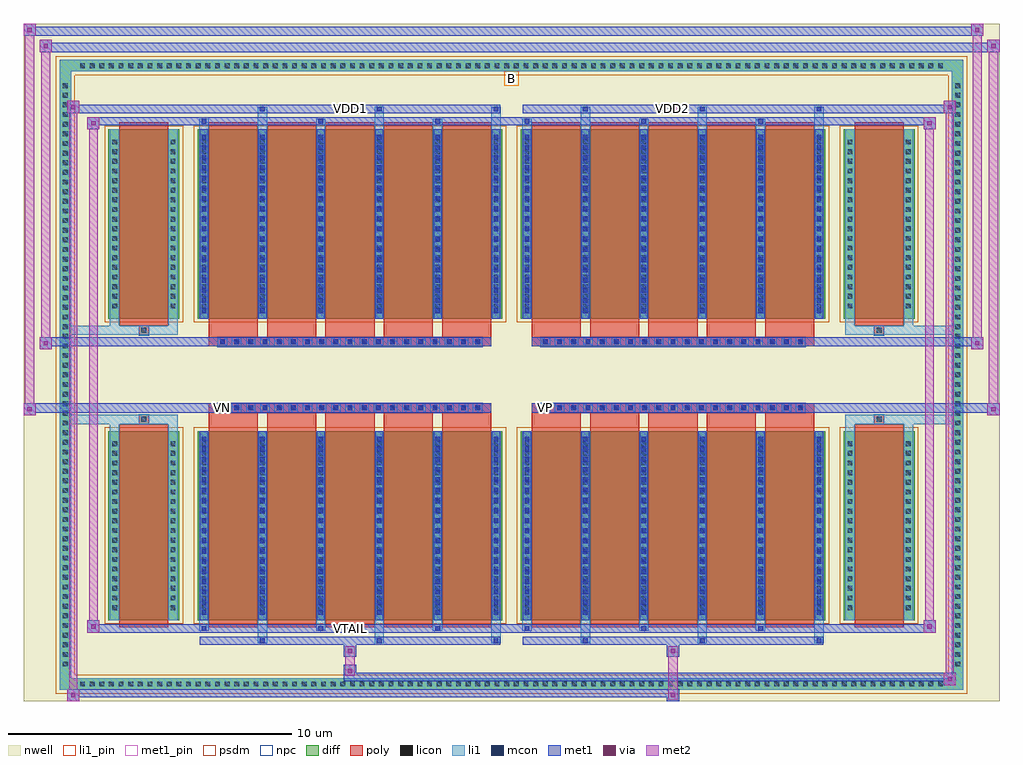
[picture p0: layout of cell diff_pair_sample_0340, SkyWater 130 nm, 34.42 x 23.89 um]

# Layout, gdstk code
import gdstk
lib = gdstk.Library(unit=1e-6, precision=5e-09)
def R(c, l, rs):  # rectangles x0, y0, x1, y1
    for r in rs: c.add(gdstk.rectangle(r[:2], r[2:], *l))
def A(c, l, x, y, w, h, nx, ny, dx, dy):  # array of equal rectangles
    R(c, l, [(x+i*dx, y+j*dy, x+i*dx+w, y+j*dy+h) for i in range(nx) for j in range(ny)])
def P(c, l, *ps):  # polygons
    for p in ps: c.add(gdstk.Polygon(p, *l))
nwell = (64, 20)
diff = (65, 20)
poly = (66, 20)
licon = (66, 44)
li1_pin = (67, 16)
li1 = (67, 20)
mcon = (67, 44)
met1_pin = (68, 16)
met1 = (68, 20)
via = (68, 44)
met2 = (69, 20)
psdm = (94, 20)
npc = (95, 20)

diff_pair_sample_0340 = lib.new_cell('diff_pair_sample_0340')
R(diff_pair_sample_0340, nwell, [(-17.21,-11.51,17.21,12.38), (-14.53,-9.7,-0.01,-0.8), (0.01,-9.7,14.53,-0.8), (-14.53,0.8,-0.01,9.7), (0.01,0.8,14.53,9.7)])
A(diff_pair_sample_0340, diff, -15.335, -11.11, 0.41, 0.41, 90, 2, 0.34, 21.81)
A(diff_pair_sample_0340, diff, -15.94, -10.405, 0.41, 0.41, 1, 61, 0, 0.34)
A(diff_pair_sample_0340, diff, 15.53, -10.405, 0.41, 0.41, 1, 61, 0, 0.34)
R(diff_pair_sample_0340, diff, [(-15.335,-11.11,15.335,-10.7), (-15.94,-10.405,-15.53,10.405), (15.53,-10.405,15.94,10.405), (-14.22,-8.655,-11.71,-1.985), (-11.07,-8.655,-0.32,-1.985), (0.32,-8.655,11.07,-1.985), (11.71,-8.655,14.22,-1.985), (-14.22,1.985,-11.71,8.655), (-11.07,1.985,-0.32,8.655), (0.32,1.985,11.07,8.655), (11.71,1.985,14.22,8.655), (-15.335,10.7,15.335,11.11)])
P(diff_pair_sample_0340, diff, [(15.94,11.11),(-15.94,11.11),(-15.94,-10.7),(-15.53,-10.7),(-15.53,10.7),(15.53,10.7),(15.53,-10.7),(-15.53,-10.7),(-15.94,-10.7),(-15.94,-11.11),(15.94,-11.11)])
A(diff_pair_sample_0340, poly, -10.68, -8.905, 1.73, 7.17, 5, 2, 2.06, 10.64)
A(diff_pair_sample_0340, poly, 0.71, -8.905, 1.73, 7.17, 5, 2, 2.06, 10.64)
A(diff_pair_sample_0340, poly, -10.68, -1.735, 1.73, 0.405, 5, 2, 2.06, 3.065)
A(diff_pair_sample_0340, poly, 0.71, -1.735, 1.73, 0.405, 5, 2, 2.06, 3.065)
A(diff_pair_sample_0340, poly, -10.36, -1.33, 0.33, 0.33, 19, 2, 0.5, 2.33)
A(diff_pair_sample_0340, poly, 1.03, -1.33, 0.33, 0.33, 19, 2, 0.5, 2.33)
R(diff_pair_sample_0340, poly, [(-13.83,-8.905,-12.1,-1.735), (12.1,-8.905,13.83,-1.735), (-13.13,-1.735,-12.8,-1.405), (-13.13,-1.735,-12.8,-1.405), (12.8,-1.735,13.13,-1.405), (12.8,-1.735,13.13,-1.405), (-10.68,-1.33,-0.71,-1), (0.71,-1.33,10.68,-1), (-10.68,1,-0.71,1.33), (0.71,1,10.68,1.33), (-13.13,1.405,-12.8,1.735), (-13.13,1.405,-12.8,1.735), (12.8,1.405,13.13,1.735), (12.8,1.405,13.13,1.735), (-13.83,1.735,-12.1,8.905), (12.1,1.735,13.83,8.905)])
A(diff_pair_sample_0340, licon, -15.215, -10.99, 0.17, 0.17, 90, 2, 0.34, 21.81)
A(diff_pair_sample_0340, licon, -15.82, -10.285, 0.17, 0.17, 1, 61, 0, 0.34)
A(diff_pair_sample_0340, licon, 15.65, -10.285, 0.17, 0.17, 1, 61, 0, 0.34)
A(diff_pair_sample_0340, licon, -14.08, -8.295, 0.17, 0.17, 1, 18, 0, 0.34)
A(diff_pair_sample_0340, licon, -12.02, -8.295, 0.17, 0.17, 1, 18, 0, 0.34)
A(diff_pair_sample_0340, licon, -10.93, -8.295, 0.17, 0.17, 6, 18, 2.06, 0.34)
A(diff_pair_sample_0340, licon, 0.46, -8.295, 0.17, 0.17, 6, 18, 2.06, 0.34)
A(diff_pair_sample_0340, licon, 11.85, -8.295, 0.17, 0.17, 1, 18, 0, 0.34)
A(diff_pair_sample_0340, licon, 13.91, -8.295, 0.17, 0.17, 1, 18, 0, 0.34)
A(diff_pair_sample_0340, licon, -10.28, -1.25, 0.17, 0.17, 19, 2, 0.5, 2.33)
A(diff_pair_sample_0340, licon, 1.11, -1.25, 0.17, 0.17, 19, 2, 0.5, 2.33)
A(diff_pair_sample_0340, licon, -14.08, 2.345, 0.17, 0.17, 1, 18, 0, 0.34)
A(diff_pair_sample_0340, licon, -12.02, 2.345, 0.17, 0.17, 1, 18, 0, 0.34)
A(diff_pair_sample_0340, licon, -10.93, 2.345, 0.17, 0.17, 6, 18, 2.06, 0.34)
A(diff_pair_sample_0340, licon, 0.46, 2.345, 0.17, 0.17, 6, 18, 2.06, 0.34)
A(diff_pair_sample_0340, licon, 11.85, 2.345, 0.17, 0.17, 1, 18, 0, 0.34)
A(diff_pair_sample_0340, licon, 13.91, 2.345, 0.17, 0.17, 1, 18, 0, 0.34)
R(diff_pair_sample_0340, licon, [(-13.05,-1.655,-12.88,-1.485), (12.88,-1.655,13.05,-1.485), (-13.05,1.485,-12.88,1.655), (12.88,1.485,13.05,1.655)])
R(diff_pair_sample_0340, li1_pin, [(-0.25,10.2,0.25,10.7)])
A(diff_pair_sample_0340, li1, -15.295, -11.07, 0.33, 0.33, 90, 2, 0.34, 21.81)
A(diff_pair_sample_0340, li1, -15.9, -10.365, 0.33, 0.33, 1, 61, 0, 0.34)
A(diff_pair_sample_0340, li1, 15.57, -10.365, 0.33, 0.33, 1, 61, 0, 0.34)
A(diff_pair_sample_0340, li1, -8.95, -9.46, 0.33, 0.805, 3, 2, 4.12, 18.115)
A(diff_pair_sample_0340, li1, -8.87, -9.46, 0.17, 0.17, 3, 2, 4.12, 18.75)
A(diff_pair_sample_0340, li1, 2.44, -9.46, 0.33, 0.805, 3, 2, 4.12, 18.115)
A(diff_pair_sample_0340, li1, 2.52, -9.46, 0.17, 0.17, 3, 2, 4.12, 18.75)
A(diff_pair_sample_0340, li1, -11.01, -9.03, 0.33, 0.375, 3, 2, 4.12, 17.685)
A(diff_pair_sample_0340, li1, -10.93, -9.03, 0.17, 0.17, 3, 2, 4.12, 17.89)
A(diff_pair_sample_0340, li1, 0.38, -9.03, 0.33, 0.375, 3, 2, 4.12, 17.685)
A(diff_pair_sample_0340, li1, 0.46, -9.03, 0.17, 0.17, 3, 2, 4.12, 17.89)
A(diff_pair_sample_0340, li1, -11.01, -8.655, 0.33, 6.67, 6, 2, 2.06, 10.64)
A(diff_pair_sample_0340, li1, 0.38, -8.655, 0.33, 6.67, 6, 2, 2.06, 10.64)
A(diff_pair_sample_0340, li1, -10.93, -8.465, 0.17, 0.17, 6, 18, 2.06, 0.36)
A(diff_pair_sample_0340, li1, -10.93, -8.465, 0.17, 6.29, 6, 2, 2.06, 10.64)
A(diff_pair_sample_0340, li1, 0.46, -8.465, 0.17, 0.17, 6, 18, 2.06, 0.36)
A(diff_pair_sample_0340, li1, 0.46, -8.465, 0.17, 6.29, 6, 2, 2.06, 10.64)
A(diff_pair_sample_0340, li1, -14.16, -8.375, 0.33, 0.33, 1, 18, 0, 0.34)
A(diff_pair_sample_0340, li1, -12.1, -8.375, 0.33, 0.33, 1, 18, 0, 0.34)
A(diff_pair_sample_0340, li1, -11.01, -8.375, 0.33, 0.33, 6, 18, 2.06, 0.34)
A(diff_pair_sample_0340, li1, 0.38, -8.375, 0.33, 0.33, 6, 18, 2.06, 0.34)
A(diff_pair_sample_0340, li1, 11.77, -8.375, 0.33, 0.33, 1, 18, 0, 0.34)
A(diff_pair_sample_0340, li1, 13.83, -8.375, 0.33, 0.33, 1, 18, 0, 0.34)
A(diff_pair_sample_0340, li1, -10.36, -1.33, 0.33, 0.33, 19, 2, 0.5, 2.33)
A(diff_pair_sample_0340, li1, 1.03, -1.33, 0.33, 0.33, 19, 2, 0.5, 2.33)
A(diff_pair_sample_0340, li1, -10.93, 2.175, 0.17, 0.17, 6, 18, 2.06, 0.36)
A(diff_pair_sample_0340, li1, 0.46, 2.175, 0.17, 0.17, 6, 18, 2.06, 0.36)
A(diff_pair_sample_0340, li1, -14.16, 2.265, 0.33, 0.33, 1, 18, 0, 0.34)
A(diff_pair_sample_0340, li1, -12.1, 2.265, 0.33, 0.33, 1, 18, 0, 0.34)
A(diff_pair_sample_0340, li1, -11.01, 2.265, 0.33, 0.33, 6, 18, 2.06, 0.34)
A(diff_pair_sample_0340, li1, 0.38, 2.265, 0.33, 0.33, 6, 18, 2.06, 0.34)
A(diff_pair_sample_0340, li1, 11.77, 2.265, 0.33, 0.33, 1, 18, 0, 0.34)
A(diff_pair_sample_0340, li1, 13.83, 2.265, 0.33, 0.33, 1, 18, 0, 0.34)
R(diff_pair_sample_0340, li1, [(-15.94,-11.11,-15.53,-10.7), (-15.94,-11.11,-15.53,-10.7), (-15.53,-11.11,15.53,-10.7), (15.53,-11.11,15.94,-10.7), (15.53,-11.11,15.94,-10.7), (-15.94,-10.7,-15.53,10.7), (15.53,-10.7,15.94,10.7), (-14.16,-8.655,-13.83,-1.985), (-12.1,-8.655,-11.77,-1.985), (11.77,-8.655,12.1,-1.985), (13.83,-8.655,14.16,-1.985), (-14.16,-1.985,-13.83,-1.405), (-12.1,-1.985,-11.77,-1.405), (11.77,-1.985,12.1,-1.405), (13.83,-1.985,14.16,-1.405), (-15.94,-1.735,-13.13,-1.405), (-14.16,-1.735,-13.13,-1.405), (-13.13,-1.735,-12.8,-1.405), (-12.8,-1.735,-11.77,-1.405), (11.77,-1.735,12.8,-1.405), (12.8,-1.735,13.13,-1.405), (12.8,-1.735,15.94,-1.405), (13.13,-1.735,14.16,-1.405), (-15.94,1.405,-13.13,1.735), (-14.16,1.405,-13.13,1.735), (-14.16,1.405,-13.83,1.985), (-13.13,1.405,-12.8,1.735), (-12.8,1.405,-11.77,1.735), (-12.1,1.405,-11.77,1.985), (11.77,1.405,12.8,1.735), (11.77,1.405,12.1,1.985), (12.8,1.405,13.13,1.735), (12.8,1.405,15.94,1.735), (13.13,1.405,14.16,1.735), (13.83,1.405,14.16,1.985), (-14.16,1.985,-13.83,8.655), (-12.1,1.985,-11.77,8.655), (11.77,1.985,12.1,8.655), (13.83,1.985,14.16,8.655), (-15.94,10.7,-15.53,11.11), (-15.94,10.7,-15.53,11.11), (-15.53,10.7,15.53,11.11), (15.53,10.7,15.94,11.11), (15.53,10.7,15.94,11.11)])
A(diff_pair_sample_0340, mcon, -8.87, -9.46, 0.17, 0.17, 3, 2, 4.12, 18.75)
A(diff_pair_sample_0340, mcon, 2.52, -9.46, 0.17, 0.17, 3, 2, 4.12, 18.75)
A(diff_pair_sample_0340, mcon, -10.93, -9.03, 0.17, 0.17, 3, 2, 4.12, 17.89)
A(diff_pair_sample_0340, mcon, 0.46, -9.03, 0.17, 0.17, 3, 2, 4.12, 17.89)
A(diff_pair_sample_0340, mcon, -10.93, -8.465, 0.17, 0.17, 6, 18, 2.06, 0.36)
A(diff_pair_sample_0340, mcon, 0.46, -8.465, 0.17, 0.17, 6, 18, 2.06, 0.36)
A(diff_pair_sample_0340, mcon, -10.28, -1.25, 0.17, 0.17, 19, 2, 0.5, 2.33)
A(diff_pair_sample_0340, mcon, 1.11, -1.25, 0.17, 0.17, 19, 2, 0.5, 2.33)
A(diff_pair_sample_0340, mcon, -10.93, 2.175, 0.17, 0.17, 6, 18, 2.06, 0.36)
A(diff_pair_sample_0340, mcon, 0.46, 2.175, 0.17, 0.17, 6, 18, 2.06, 0.36)
R(diff_pair_sample_0340, met1_pin, [(-5.83,-9.07,-5.56,-8.8), (-10.33,-1.29,-10.06,-1.02), (1.06,-1.29,1.33,-1.02), (-5.83,9.25,-5.56,9.52), (5.56,9.25,5.83,9.52)])
A(diff_pair_sample_0340, met1, -8.93, -9.52, 0.29, 0.29, 3, 2, 4.12, 18.75)
A(diff_pair_sample_0340, met1, 2.46, -9.52, 0.29, 0.29, 3, 2, 4.12, 18.75)
A(diff_pair_sample_0340, met1, -10.99, -9.09, 0.29, 0.29, 3, 2, 4.12, 17.89)
A(diff_pair_sample_0340, met1, 0.4, -9.09, 0.29, 0.29, 3, 2, 4.12, 17.89)
A(diff_pair_sample_0340, met1, -10.99, -8.655, 0.29, 6.67, 6, 2, 2.06, 10.64)
A(diff_pair_sample_0340, met1, 0.4, -8.655, 0.29, 6.67, 6, 2, 2.06, 10.64)
A(diff_pair_sample_0340, met1, -10.99, -8.525, 0.29, 0.29, 6, 18, 2.06, 0.36)
A(diff_pair_sample_0340, met1, 0.4, -8.525, 0.29, 0.29, 6, 18, 2.06, 0.36)
A(diff_pair_sample_0340, met1, -10.34, -1.31, 0.29, 0.29, 19, 2, 0.5, 2.33)
A(diff_pair_sample_0340, met1, 1.05, -1.31, 0.29, 0.29, 19, 2, 0.5, 2.33)
A(diff_pair_sample_0340, met1, -10.99, 2.115, 0.29, 0.29, 6, 18, 2.06, 0.36)
A(diff_pair_sample_0340, met1, 0.4, 2.115, 0.29, 0.29, 6, 18, 2.06, 0.36)
R(diff_pair_sample_0340, met1, [(-15.67,-11.51,-15.24,-11.08), (5.48,-11.51,5.91,-11.08), (-15.67,-11.37,5.91,-11.08), (15.24,-10.94,15.67,-10.51), (-5.91,-10.8,15.67,-10.51), (-5.91,-10.66,-5.48,-10.23), (-5.91,-9.95,-5.48,-9.52), (5.48,-9.95,5.91,-9.52), (-10.99,-9.52,-0.4,-9.23), (0.4,-9.52,10.99,-9.23), (-14.96,-9.09,-14.53,-8.66), (-14.96,-9.09,-10.99,-8.8), (-10.99,-9.09,-0.4,-8.8), (-0.4,-9.09,0.4,-8.8), (0.4,-9.09,10.99,-8.8), (10.99,-9.09,14.96,-8.8), (14.53,-9.09,14.96,-8.66), (-17.21,-1.43,-16.78,-1), (16.78,-1.43,17.21,-1), (-17.21,-1.33,-0.71,-1), (-10.68,-1.33,-0.71,-1), (0.71,-1.33,10.68,-1), (0.71,-1.33,17.21,-1), (-16.64,0.9,-16.21,1.33), (16.21,0.9,16.64,1.33), (-16.64,1,-10.68,1.33), (-10.68,1,-0.71,1.33), (0.71,1,10.68,1.33), (10.68,1,16.64,1.33), (-14.96,8.66,-14.53,9.09), (14.53,8.66,14.96,9.09), (-14.96,8.8,-10.99,9.09), (-10.99,8.8,-0.4,9.09), (-0.4,8.8,0.4,9.09), (0.4,8.8,10.99,9.09), (10.99,8.8,14.96,9.09), (-15.67,9.23,-15.24,9.66), (-15.67,9.23,-10.99,9.52), (-10.99,9.23,-0.4,9.52), (0.4,9.23,10.99,9.52), (10.99,9.23,15.67,9.52), (15.24,9.23,15.67,9.66), (-16.64,11.38,-16.21,11.81), (-16.64,11.38,-14.53,11.71), (-14.53,11.38,14.53,11.71), (14.53,11.38,17.21,11.71), (16.78,11.38,17.21,11.81), (-17.21,11.95,-16.78,12.38), (-17.21,11.95,-14.53,12.28), (-14.53,11.95,14.53,12.28), (14.53,11.95,16.64,12.28), (16.21,11.95,16.64,12.38)])
R(diff_pair_sample_0340, via, [(-15.53,-11.37,-15.38,-11.22), (5.62,-11.37,5.77,-11.22), (15.38,-10.8,15.53,-10.65), (-5.77,-10.52,-5.62,-10.37), (-5.77,-9.81,-5.62,-9.66), (5.62,-9.81,5.77,-9.66), (-14.82,-8.95,-14.67,-8.8), (14.67,-8.95,14.82,-8.8), (-17.07,-1.29,-16.92,-1.14), (16.92,-1.29,17.07,-1.14), (-16.5,1.04,-16.35,1.19), (16.35,1.04,16.5,1.19), (-14.82,8.8,-14.67,8.95), (14.67,8.8,14.82,8.95), (-15.53,9.37,-15.38,9.52), (15.38,9.37,15.53,9.52), (-16.5,11.52,-16.35,11.67), (16.92,11.52,17.07,11.67), (-17.07,12.09,-16.92,12.24), (16.35,12.09,16.5,12.24)])
R(diff_pair_sample_0340, met2, [(-15.67,-11.51,-15.24,-11.08), (-15.6,-11.51,-15.31,9.66), (-15.31,-11.51,-15.24,-11.08), (-15.62,-11.46,-15.29,-11.13), (5.53,-11.46,5.86,-11.13), (5.53,-11.13,5.86,-9.9), (15.24,-10.94,15.67,-10.51), (15.31,-10.94,15.6,9.66), (15.6,-10.94,15.67,-10.51), (15.29,-10.89,15.62,-10.56), (-5.86,-10.61,-5.53,-10.28), (-5.86,-10.28,-5.53,-9.9), (-5.86,-9.9,-5.53,-9.57), (5.53,-9.9,5.86,-9.57), (-14.96,-9.09,-14.53,-8.66), (-14.89,-9.09,-14.6,9.09), (-14.6,-9.09,-14.53,-8.66), (14.53,-9.09,14.96,-8.66), (14.6,-9.09,14.89,9.09), (14.89,-9.09,14.96,-8.66), (-14.91,-9.04,-14.58,-8.71), (14.58,-9.04,14.91,-8.71), (-17.21,-1.43,-16.78,-1), (-17.16,-1.43,-16.83,12.38), (-16.83,-1.43,-16.78,-1), (16.78,-1.43,17.21,-1), (16.83,-1.43,17.16,11.81), (17.16,-1.43,17.21,-1), (-17.16,-1.38,-16.83,-1.05), (16.83,-1.38,17.16,-1.05), (-16.64,0.9,-16.21,1.33), (-16.59,0.9,-16.26,11.81), (-16.26,0.9,-16.21,1.33), (16.21,0.9,16.64,1.33), (16.26,0.9,16.59,12.38), (16.59,0.9,16.64,1.33), (-16.59,0.95,-16.26,1.28), (16.26,0.95,16.59,1.28), (-14.96,8.66,-14.53,9.09), (-14.6,8.66,-14.53,9.09), (14.53,8.66,14.96,9.09), (14.89,8.66,14.96,9.09), (-14.91,8.71,-14.58,9.04), (14.58,8.71,14.91,9.04), (-15.67,9.23,-15.24,9.66), (-15.31,9.23,-15.24,9.66), (15.24,9.23,15.67,9.66), (15.6,9.23,15.67,9.66), (-15.62,9.28,-15.29,9.61), (15.29,9.28,15.62,9.61), (-16.64,11.38,-16.21,11.81), (-16.26,11.38,-16.21,11.81), (16.78,11.38,17.21,11.81), (17.16,11.38,17.21,11.81), (-16.59,11.43,-16.26,11.76), (16.83,11.43,17.16,11.76), (-17.21,11.95,-16.78,12.38), (-16.83,11.95,-16.78,12.38), (16.21,11.95,16.64,12.38), (16.59,11.95,16.64,12.38), (-17.16,12,-16.83,12.33), (16.26,12,16.59,12.33)])
R(diff_pair_sample_0340, psdm, [(-14.35,-8.785,-11.58,-1.855), (-11.2,-8.785,-0.19,-1.855), (0.19,-8.785,11.2,-1.855), (11.58,-8.785,14.35,-1.855), (-14.35,1.855,-11.58,8.785), (-11.2,1.855,-0.19,8.785), (0.19,1.855,11.2,8.785), (11.58,1.855,14.35,8.785)])
P(diff_pair_sample_0340, psdm, [(16.07,11.24),(-16.07,11.24),(-16.07,-10.57),(-15.4,-10.57),(-15.4,10.57),(15.4,10.57),(15.4,-10.57),(-15.4,-10.57),(-16.07,-10.57),(-16.07,-11.24),(16.07,-11.24)])
A(diff_pair_sample_0340, npc, -10.38, -1.35, 0.37, 0.37, 19, 2, 0.5, 2.33)
A(diff_pair_sample_0340, npc, 1.01, -1.35, 0.37, 0.37, 19, 2, 0.5, 2.33)
R(diff_pair_sample_0340, npc, [(-13.15,-1.755,-12.78,-1.385), (12.78,-1.755,13.15,-1.385), (-10.38,-1.35,-9.51,-0.98), (-10.38,-1.35,-9.51,-0.98), (-9.88,-1.35,-9.01,-0.98), (-9.88,-1.35,-9.01,-0.98), (-9.38,-1.35,-8.51,-0.98), (-9.38,-1.35,-8.51,-0.98), (-8.88,-1.35,-8.01,-0.98), (-8.88,-1.35,-8.01,-0.98), (-8.38,-1.35,-7.51,-0.98), (-8.38,-1.35,-7.51,-0.98), (-7.88,-1.35,-7.01,-0.98), (-7.88,-1.35,-7.01,-0.98), (-7.38,-1.35,-6.51,-0.98), (-7.38,-1.35,-6.51,-0.98), (-6.88,-1.35,-6.01,-0.98), (-6.88,-1.35,-6.01,-0.98), (-6.38,-1.35,-5.51,-0.98), (-6.38,-1.35,-5.51,-0.98), (-5.88,-1.35,-5.01,-0.98), (-5.88,-1.35,-5.01,-0.98), (-5.38,-1.35,-4.51,-0.98), (-5.38,-1.35,-4.51,-0.98), (-4.88,-1.35,-4.01,-0.98), (-4.88,-1.35,-4.01,-0.98), (-4.38,-1.35,-3.51,-0.98), (-4.38,-1.35,-3.51,-0.98), (-3.88,-1.35,-3.01,-0.98), (-3.88,-1.35,-3.01,-0.98), (-3.38,-1.35,-2.51,-0.98), (-3.38,-1.35,-2.51,-0.98), (-2.88,-1.35,-2.01,-0.98), (-2.88,-1.35,-2.01,-0.98), (-2.38,-1.35,-1.51,-0.98), (-2.38,-1.35,-1.51,-0.98), (-1.88,-1.35,-1.01,-0.98), (-1.88,-1.35,-1.01,-0.98), (1.01,-1.35,1.88,-0.98), (1.01,-1.35,1.88,-0.98), (1.51,-1.35,2.38,-0.98), (1.51,-1.35,2.38,-0.98), (2.01,-1.35,2.88,-0.98), (2.01,-1.35,2.88,-0.98), (2.51,-1.35,3.38,-0.98), (2.51,-1.35,3.38,-0.98), (3.01,-1.35,3.88,-0.98), (3.01,-1.35,3.88,-0.98), (3.51,-1.35,4.38,-0.98), (3.51,-1.35,4.38,-0.98), (4.01,-1.35,4.88,-0.98), (4.01,-1.35,4.88,-0.98), (4.51,-1.35,5.38,-0.98), (4.51,-1.35,5.38,-0.98), (5.01,-1.35,5.88,-0.98), (5.01,-1.35,5.88,-0.98), (5.51,-1.35,6.38,-0.98), (5.51,-1.35,6.38,-0.98), (6.01,-1.35,6.88,-0.98), (6.01,-1.35,6.88,-0.98), (6.51,-1.35,7.38,-0.98), (6.51,-1.35,7.38,-0.98), (7.01,-1.35,7.88,-0.98), (7.01,-1.35,7.88,-0.98), (7.51,-1.35,8.38,-0.98), (7.51,-1.35,8.38,-0.98), (8.01,-1.35,8.88,-0.98), (8.01,-1.35,8.88,-0.98), (8.51,-1.35,9.38,-0.98), (8.51,-1.35,9.38,-0.98), (9.01,-1.35,9.88,-0.98), (9.01,-1.35,9.88,-0.98), (9.51,-1.35,10.38,-0.98), (9.51,-1.35,10.38,-0.98), (-10.38,0.98,-9.51,1.35), (-10.38,0.98,-9.51,1.35), (-9.88,0.98,-9.01,1.35), (-9.88,0.98,-9.01,1.35), (-9.38,0.98,-8.51,1.35), (-9.38,0.98,-8.51,1.35), (-8.88,0.98,-8.01,1.35), (-8.88,0.98,-8.01,1.35), (-8.38,0.98,-7.51,1.35), (-8.38,0.98,-7.51,1.35), (-7.88,0.98,-7.01,1.35), (-7.88,0.98,-7.01,1.35), (-7.38,0.98,-6.51,1.35), (-7.38,0.98,-6.51,1.35), (-6.88,0.98,-6.01,1.35), (-6.88,0.98,-6.01,1.35), (-6.38,0.98,-5.51,1.35), (-6.38,0.98,-5.51,1.35), (-5.88,0.98,-5.01,1.35), (-5.88,0.98,-5.01,1.35), (-5.38,0.98,-4.51,1.35), (-5.38,0.98,-4.51,1.35), (-4.88,0.98,-4.01,1.35), (-4.88,0.98,-4.01,1.35), (-4.38,0.98,-3.51,1.35), (-4.38,0.98,-3.51,1.35), (-3.88,0.98,-3.01,1.35), (-3.88,0.98,-3.01,1.35), (-3.38,0.98,-2.51,1.35), (-3.38,0.98,-2.51,1.35), (-2.88,0.98,-2.01,1.35), (-2.88,0.98,-2.01,1.35), (-2.38,0.98,-1.51,1.35), (-2.38,0.98,-1.51,1.35), (-1.88,0.98,-1.01,1.35), (-1.88,0.98,-1.01,1.35), (1.01,0.98,1.88,1.35), (1.01,0.98,1.88,1.35), (1.51,0.98,2.38,1.35), (1.51,0.98,2.38,1.35), (2.01,0.98,2.88,1.35), (2.01,0.98,2.88,1.35), (2.51,0.98,3.38,1.35), (2.51,0.98,3.38,1.35), (3.01,0.98,3.88,1.35), (3.01,0.98,3.88,1.35), (3.51,0.98,4.38,1.35), (3.51,0.98,4.38,1.35), (4.01,0.98,4.88,1.35), (4.01,0.98,4.88,1.35), (4.51,0.98,5.38,1.35), (4.51,0.98,5.38,1.35), (5.01,0.98,5.88,1.35), (5.01,0.98,5.88,1.35), (5.51,0.98,6.38,1.35), (5.51,0.98,6.38,1.35), (6.01,0.98,6.88,1.35), (6.01,0.98,6.88,1.35), (6.51,0.98,7.38,1.35), (6.51,0.98,7.38,1.35), (7.01,0.98,7.88,1.35), (7.01,0.98,7.88,1.35), (7.51,0.98,8.38,1.35), (7.51,0.98,8.38,1.35), (8.01,0.98,8.88,1.35), (8.01,0.98,8.88,1.35), (8.51,0.98,9.38,1.35), (8.51,0.98,9.38,1.35), (9.01,0.98,9.88,1.35), (9.01,0.98,9.88,1.35), (9.51,0.98,10.38,1.35), (9.51,0.98,10.38,1.35), (-13.15,1.385,-12.78,1.755), (12.78,1.385,13.15,1.755)])
diff_pair_sample_0340.add(gdstk.Label('VTAIL', (-5.695,-8.935), layer=68, texttype=5))
diff_pair_sample_0340.add(gdstk.Label('VN', (-10.195,-1.155), layer=68, texttype=5))
diff_pair_sample_0340.add(gdstk.Label('VP', (1.195,-1.155), layer=68, texttype=5))
diff_pair_sample_0340.add(gdstk.Label('B', (0,10.45), layer=67, texttype=5))
diff_pair_sample_0340.add(gdstk.Label('VDD2', (5.695,9.385), layer=68, texttype=5))
diff_pair_sample_0340.add(gdstk.Label('VDD1', (-5.695,9.385), layer=68, texttype=5))

lib.write_gds('diff_pair_sample_0340.gds')
